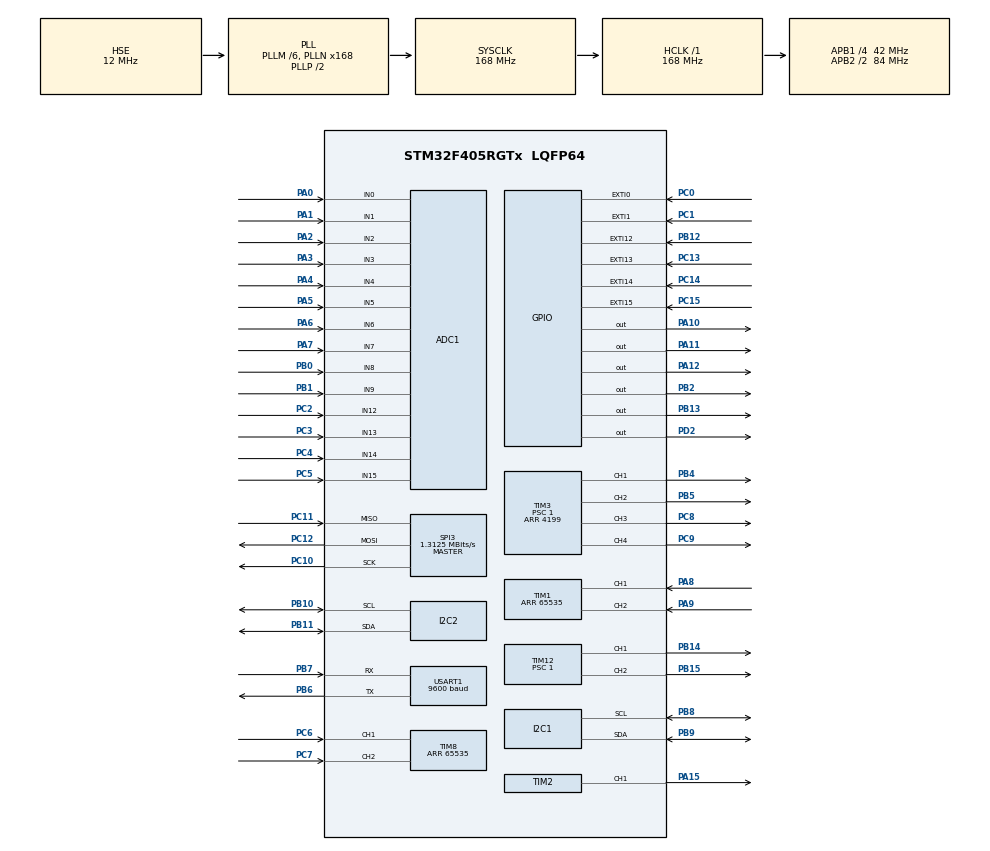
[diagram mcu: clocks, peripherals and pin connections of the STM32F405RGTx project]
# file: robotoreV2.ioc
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ADC1.Channel-0\#ChannelRegularConversion=ADC_CHANNEL_0
ADC1.Channel-1\#ChannelRegularConversion=ADC_CHANNEL_1
ADC1.Channel-10\#ChannelRegularConversion=ADC_CHANNEL_14
ADC1.Channel-11\#ChannelRegularConversion=ADC_CHANNEL_15
ADC1.Channel-12\#ChannelRegularConversion=ADC_CHANNEL_12
ADC1.Channel-13\#ChannelRegularConversion=ADC_CHANNEL_13
ADC1.Channel-2\#ChannelRegularConversion=ADC_CHANNEL_2
ADC1.Channel-3\#ChannelRegularConversion=ADC_CHANNEL_3
ADC1.Channel-4\#ChannelRegularConversion=ADC_CHANNEL_4
ADC1.Channel-5\#ChannelRegularConversion=ADC_CHANNEL_5
ADC1.Channel-6\#ChannelRegularConversion=ADC_CHANNEL_6
ADC1.Channel-7\#ChannelRegularConversion=ADC_CHANNEL_7
ADC1.Channel-8\#ChannelRegularConversion=ADC_CHANNEL_8
ADC1.Channel-9\#ChannelRegularConversion=ADC_CHANNEL_9
ADC1.ContinuousConvMode=ENABLE
ADC1.DMAContinuousRequests=ENABLE
ADC1.InjNumberOfConversion=0
ADC1.NbrOfConversion=14
ADC1.NbrOfConversionFlag=1
ADC1.Rank-0\#ChannelRegularConversion=1
ADC1.Rank-1\#ChannelRegularConversion=2
ADC1.Rank-10\#ChannelRegularConversion=11
ADC1.Rank-11\#ChannelRegularConversion=12
ADC1.Rank-12\#ChannelRegularConversion=13
ADC1.Rank-13\#ChannelRegularConversion=14
ADC1.Rank-2\#ChannelRegularConversion=3
ADC1.Rank-3\#ChannelRegularConversion=4
ADC1.Rank-4\#ChannelRegularConversion=5
ADC1.Rank-5\#ChannelRegularConversion=6
ADC1.Rank-6\#ChannelRegularConversion=7
ADC1.Rank-7\#ChannelRegularConversion=8
ADC1.Rank-8\#ChannelRegularConversion=9
ADC1.Rank-9\#ChannelRegularConversion=10
ADC1.SamplingTime-0\#ChannelRegularConversion=ADC_SAMPLETIME_28CYCLES
ADC1.SamplingTime-1\#ChannelRegularConversion=ADC_SAMPLETIME_28CYCLES
ADC1.SamplingTime-10\#ChannelRegularConversion=ADC_SAMPLETIME_28CYCLES
ADC1.SamplingTime-11\#ChannelRegularConversion=ADC_SAMPLETIME_28CYCLES
ADC1.SamplingTime-12\#ChannelRegularConversion=ADC_SAMPLETIME_28CYCLES
ADC1.SamplingTime-13\#ChannelRegularConversion=ADC_SAMPLETIME_28CYCLES
ADC1.SamplingTime-2\#ChannelRegularConversion=ADC_SAMPLETIME_28CYCLES
ADC1.SamplingTime-3\#ChannelRegularConversion=ADC_SAMPLETIME_28CYCLES
ADC1.SamplingTime-4\#ChannelRegularConversion=ADC_SAMPLETIME_28CYCLES
ADC1.SamplingTime-5\#ChannelRegularConversion=ADC_SAMPLETIME_28CYCLES
ADC1.SamplingTime-6\#ChannelRegularConversion=ADC_SAMPLETIME_28CYCLES
ADC1.SamplingTime-7\#ChannelRegularConversion=ADC_SAMPLETIME_28CYCLES
ADC1.SamplingTime-8\#ChannelRegularConversion=ADC_SAMPLETIME_28CYCLES
ADC1.SamplingTime-9\#ChannelRegularConversion=ADC_SAMPLETIME_28CYCLES
ADC1.ScanConvMode=ENABLE
ADC1.master=1
ARM.CMSIS.5.6.0.CMSISJjDSP=Library
ARM.CMSIS.5.6.0.CMSISJjDSP.apiComponent0=Device\:IRQ Controller
ARM.CMSIS.5.6.0.CMSISJjDSP.apiComponent1=Device\:OS Tick
ARM.CMSIS.5.6.0.CMSISJjDSP.apiComponent10=CMSIS Driver\:SAI
ARM.CMSIS.5.6.0.CMSISJjDSP.apiComponent11=CMSIS Driver\:I2C
ARM.CMSIS.5.6.0.CMSISJjDSP.apiComponent12=CMSIS Driver\:I2C
ARM.CMSIS.5.6.0.CMSISJjDSP.apiComponent13=CMSIS Driver\:CAN
ARM.CMSIS.5.6.0.CMSISJjDSP.apiComponent14=CMSIS Driver\:CAN
ARM.CMSIS.5.6.0.CMSISJjDSP.apiComponent15=CMSIS Driver\:Flash
ARM.CMSIS.5.6.0.CMSISJjDSP.apiComponent16=CMSIS Driver\:Flash
ARM.CMSIS.5.6.0.CMSISJjDSP.apiComponent17=CMSIS Driver\:MCI
ARM.CMSIS.5.6.0.CMSISJjDSP.apiComponent18=CMSIS Driver\:MCI
ARM.CMSIS.5.6.0.CMSISJjDSP.apiComponent19=CMSIS Driver\:NAND
ARM.CMSIS.5.6.0.CMSISJjDSP.apiComponent2=CMSIS\:RTOS
ARM.CMSIS.5.6.0.CMSISJjDSP.apiComponent20=CMSIS Driver\:NAND
ARM.CMSIS.5.6.0.CMSISJjDSP.apiComponent21=CMSIS Driver\:Ethernet
ARM.CMSIS.5.6.0.CMSISJjDSP.apiComponent22=CMSIS Driver\:Ethernet
ARM.CMSIS.5.6.0.CMSISJjDSP.apiComponent23=CMSIS Driver\:Ethernet
ARM.CMSIS.5.6.0.CMSISJjDSP.apiComponent24=CMSIS Driver\:Ethernet MAC
ARM.CMSIS.5.6.0.CMSISJjDSP.apiComponent25=CMSIS Driver\:Ethernet MAC
ARM.CMSIS.5.6.0.CMSISJjDSP.apiComponent26=CMSIS Driver\:Ethernet PHY
ARM.CMSIS.5.6.0.CMSISJjDSP.apiComponent27=CMSIS Driver\:Ethernet PHY
ARM.CMSIS.5.6.0.CMSISJjDSP.apiComponent28=CMSIS Driver\:USB Device
ARM.CMSIS.5.6.0.CMSISJjDSP.apiComponent29=CMSIS Driver\:USB Device
ARM.CMSIS.5.6.0.CMSISJjDSP.apiComponent3=CMSIS\:RTOS2
ARM.CMSIS.5.6.0.CMSISJjDSP.apiComponent30=CMSIS Driver\:USB Host
ARM.CMSIS.5.6.0.CMSISJjDSP.apiComponent31=CMSIS Driver\:USB Host
ARM.CMSIS.5.6.0.CMSISJjDSP.apiComponent32=CMSIS Driver\:WiFi
ARM.CMSIS.5.6.0.CMSISJjDSP.apiComponent33=CMSIS Driver\:WiFi
ARM.CMSIS.5.6.0.CMSISJjDSP.apiComponent4=CMSIS\:RTOS2
ARM.CMSIS.5.6.0.CMSISJjDSP.apiComponent5=CMSIS Driver\:USART
ARM.CMSIS.5.6.0.CMSISJjDSP.apiComponent6=CMSIS Driver\:USART
ARM.CMSIS.5.6.0.CMSISJjDSP.apiComponent7=CMSIS Driver\:SPI
ARM.CMSIS.5.6.0.CMSISJjDSP.apiComponent8=CMSIS Driver\:SPI
ARM.CMSIS.5.6.0.CMSISJjDSP.apiComponent9=CMSIS Driver\:SAI
ARM.CMSIS.5.6.0.CMSISJjDSP.apiDoc0=CMSIS/Core_A/Include/irq_ctrl.h
ARM.CMSIS.5.6.0.CMSISJjDSP.apiDoc1=CMSIS/RTOS2/Include/os_tick.h
ARM.CMSIS.5.6.0.CMSISJjDSP.apiDoc10=CMSIS/Driver/Include/Driver_SAI.h
ARM.CMSIS.5.6.0.CMSISJjDSP.apiDoc11=CMSIS/Documentation/Driver/html/group__i2c__interface__gr.html
ARM.CMSIS.5.6.0.CMSISJjDSP.apiDoc12=CMSIS/Driver/Include/Driver_I2C.h
ARM.CMSIS.5.6.0.CMSISJjDSP.apiDoc13=CMSIS/Documentation/Driver/html/group__can__interface__gr.html
ARM.CMSIS.5.6.0.CMSISJjDSP.apiDoc14=CMSIS/Driver/Include/Driver_CAN.h
ARM.CMSIS.5.6.0.CMSISJjDSP.apiDoc15=CMSIS/Documentation/Driver/html/group__flash__interface__gr.html
ARM.CMSIS.5.6.0.CMSISJjDSP.apiDoc16=CMSIS/Driver/Include/Driver_Flash.h
ARM.CMSIS.5.6.0.CMSISJjDSP.apiDoc17=CMSIS/Documentation/Driver/html/group__mci__interface__gr.html
ARM.CMSIS.5.6.0.CMSISJjDSP.apiDoc18=CMSIS/Driver/Include/Driver_MCI.h
ARM.CMSIS.5.6.0.CMSISJjDSP.apiDoc19=CMSIS/Documentation/Driver/html/group__nand__interface__gr.html
ARM.CMSIS.5.6.0.CMSISJjDSP.apiDoc2=CMSIS/Documentation/RTOS/html/index.html
ARM.CMSIS.5.6.0.CMSISJjDSP.apiDoc20=CMSIS/Driver/Include/Driver_NAND.h
ARM.CMSIS.5.6.0.CMSISJjDSP.apiDoc21=CMSIS/Documentation/Driver/html/group__eth__interface__gr.html
ARM.CMSIS.5.6.0.CMSISJjDSP.apiDoc22=CMSIS/Driver/Include/Driver_ETH_MAC.h
ARM.CMSIS.5.6.0.CMSISJjDSP.apiDoc23=CMSIS/Driver/Include/Driver_ETH_PHY.h
ARM.CMSIS.5.6.0.CMSISJjDSP.apiDoc24=CMSIS/Documentation/Driver/html/group__eth__mac__interface__gr.html
ARM.CMSIS.5.6.0.CMSISJjDSP.apiDoc25=CMSIS/Driver/Include/Driver_ETH_MAC.h
ARM.CMSIS.5.6.0.CMSISJjDSP.apiDoc26=CMSIS/Documentation/Driver/html/group__eth__phy__interface__gr.html
ARM.CMSIS.5.6.0.CMSISJjDSP.apiDoc27=CMSIS/Driver/Include/Driver_ETH_PHY.h
ARM.CMSIS.5.6.0.CMSISJjDSP.apiDoc28=CMSIS/Documentation/Driver/html/group__usbd__interface__gr.html
ARM.CMSIS.5.6.0.CMSISJjDSP.apiDoc29=CMSIS/Driver/Include/Driver_USBD.h
ARM.CMSIS.5.6.0.CMSISJjDSP.apiDoc3=CMSIS/Documentation/RTOS2/html/index.html
ARM.CMSIS.5.6.0.CMSISJjDSP.apiDoc30=CMSIS/Documentation/Driver/html/group__usbh__interface__gr.html
ARM.CMSIS.5.6.0.CMSISJjDSP.apiDoc31=CMSIS/Driver/Include/Driver_USBH.h
ARM.CMSIS.5.6.0.CMSISJjDSP.apiDoc32=CMSIS/Documentation/Driver/html/group__wifi__interface__gr.html
ARM.CMSIS.5.6.0.CMSISJjDSP.apiDoc33=CMSIS/Driver/Include/Driver_WiFi.h
ARM.CMSIS.5.6.0.CMSISJjDSP.apiDoc4=CMSIS/RTOS2/Include/cmsis_os2.h
ARM.CMSIS.5.6.0.CMSISJjDSP.apiDoc5=CMSIS/Documentation/Driver/html/group__usart__interface__gr.html
ARM.CMSIS.5.6.0.CMSISJjDSP.apiDoc6=CMSIS/Driver/Include/Driver_USART.h
ARM.CMSIS.5.6.0.CMSISJjDSP.apiDoc7=CMSIS/Documentation/Driver/html/group__spi__interface__gr.html
ARM.CMSIS.5.6.0.CMSISJjDSP.apiDoc8=CMSIS/Driver/Include/Driver_SPI.h
ARM.CMSIS.5.6.0.CMSISJjDSP.apiDoc9=CMSIS/Documentation/Driver/html/group__sai__interface__gr.html
ARM.CMSIS.5.6.0.CMSISJjDSP.cmp_version0=1.7.0
ARM.CMSIS.5.6.0.CMSISJjDSP.component0=CMSIS
ARM.CMSIS.5.6.0.CMSISJjDSP.componentDoc0=CMSIS/Documentation/DSP/html/index.html
ARM.CMSIS.5.6.0.CMSISJjDSP.description0=CMSIS-DSP Library for Cortex-M, SC000, and SC300
ARM.CMSIS.5.6.0.CMSISJjDSP.diagnostic0=This component should operate correctly.
ARM.CMSIS.5.6.0.CMSISJjDSP.group0=DSP
ARM.CMSIS.5.6.0.CMSISJjDSP.paramName0=CMSISJjDSP
ARM.CMSIS.5.6.0.CMSISJjDSP.sevirity0=none
ARM.CMSIS.5.6.0.CMSISJjDSP.variant0=Library
ARM.CMSIS.5.6.0.CMSISJjDSP_apiSize=34
ARM.CMSIS.5.6.0.CMSISJjDSP_bundle=CMSIS
ARM.CMSIS.5.6.0.CMSISJjDSP_class=CMSIS
ARM.CMSIS.5.6.0.CMSISJjDSP_name=CMSIS
ARM.CMSIS.5.6.0.CMSISJjDSP_size=1
ARM.CMSIS.5.6.0.CMSISJjDSP_vendor=ARM
ARM.CMSIS.5.6.0.CMSISJjDSP_version=5.6.0
ARM.CMSIS.5.6.0_CMSISJjCORE_RteComponentsize=0
ARM.CMSIS.5.6.0_CMSISJjDSP_RteComponentsize=0
ARM.CMSIS.5.6.0_CMSISJjNNOoLib_RteComponentsize=0
ARM.CMSIS.5.6.0_CMSISJjRTOS2_RteComponentsize=0
ARM.CMSIS.5.6.0_CMSISJjRTOS_RteComponentsize=0
ARM.CMSIS.5.6.0_CMSISOoDriverJjCAN_RteComponentsize=0
ARM.CMSIS.5.6.0_CMSISOoDriverJjEthernetOoMAC_RteComponentsize=0
ARM.CMSIS.5.6.0_CMSISOoDriverJjEthernetOoPHY_RteComponentsize=0
ARM.CMSIS.5.6.0_CMSISOoDriverJjEthernet_RteComponentsize=0
ARM.CMSIS.5.6.0_CMSISOoDriverJjFlash_RteComponentsize=0
ARM.CMSIS.5.6.0_CMSISOoDriverJjI2C_RteComponentsize=0
ARM.CMSIS.5.6.0_CMSISOoDriverJjMCI_RteComponentsize=0
ARM.CMSIS.5.6.0_CMSISOoDriverJjNAND_RteComponentsize=0
ARM.CMSIS.5.6.0_CMSISOoDriverJjSAI_RteComponentsize=0
ARM.CMSIS.5.6.0_CMSISOoDriverJjSPI_RteComponentsize=0
ARM.CMSIS.5.6.0_CMSISOoDriverJjUSART_RteComponentsize=0
ARM.CMSIS.5.6.0_CMSISOoDriverJjUSBOoDevice_RteComponentsize=0
ARM.CMSIS.5.6.0_CMSISOoDriverJjUSBOoHost_RteComponentsize=0
ARM.CMSIS.5.6.0_CMSISOoDriverJjWiFi_RteComponentsize=0
ARM.CMSIS.5.6.0_DeviceJjIRQOoController_RteComponentsize=0
ARM.CMSIS.5.6.0_DeviceJjOSOoTick_RteComponentsize=0
ARM.CMSIS.5.6.0_DeviceJjStartup_RteComponentsize=0
ARM.CMSIS.5.6.0_description=CMSIS (Cortex Microcontroller Software Interface Standard)
Dma.ADC1.0.Direction=DMA_PERIPH_TO_MEMORY
Dma.ADC1.0.FIFOMode=DMA_FIFOMODE_DISABLE
Dma.ADC1.0.Instance=DMA2_Stream0
Dma.ADC1.0.MemDataAlignment=DMA_MDATAALIGN_HALFWORD
Dma.ADC1.0.MemInc=DMA_MINC_ENABLE
Dma.ADC1.0.Mode=DMA_CIRCULAR
Dma.ADC1.0.PeriphDataAlignment=DMA_PDATAALIGN_HALFWORD
Dma.ADC1.0.PeriphInc=DMA_PINC_DISABLE
Dma.ADC1.0.Priority=DMA_PRIORITY_LOW
Dma.Request0=ADC1
I2C1.I2C_Mode=I2C_Fast
Mcu.Family=STM32F4
Mcu.Name=STM32F405RGTx
Mcu.Package=LQFP64
NVIC.DMA2_Stream0_IRQn=true\:5\:0\:true\:false\:true\:false\:true
NVIC.EXTI0_IRQn=true\:0\:0\:false\:false\:true\:true\:true
NVIC.EXTI15_10_IRQn=true\:0\:0\:false\:false\:true\:true\:true
NVIC.EXTI1_IRQn=true\:0\:0\:false\:false\:true\:true\:true
NVIC.PriorityGroup=NVIC_PRIORITYGROUP_4
NVIC.TIM6_DAC_IRQn=true\:5\:0\:true\:false\:true\:true\:true
NVIC.TIM7_IRQn=true\:5\:0\:true\:false\:true\:true\:true
PA0-WKUP.Signal=ADCx_IN0
PA1.Signal=ADCx_IN1
PA10.GPIO_Speed=GPIO_SPEED_FREQ_HIGH
PA10.Signal=GPIO_Output
PA11.GPIO_Speed=GPIO_SPEED_FREQ_HIGH
PA11.Signal=GPIO_Output
PA12.Signal=GPIO_Output
PA13.Mode=Trace_Asynchronous_SW
PA13.Signal=SYS_JTMS-SWDIO
PA14.Mode=Trace_Asynchronous_SW
PA14.Signal=SYS_JTCK-SWCLK
PA15.Signal=S_TIM2_CH1_ETR
PA2.Signal=ADCx_IN2
PA3.Signal=ADCx_IN3
PA4.Signal=ADCx_IN4
PA5.Signal=ADCx_IN5
PA6.Signal=ADCx_IN6
PA7.Signal=ADCx_IN7
PA8.Signal=S_TIM1_CH1
PA9.Signal=S_TIM1_CH2
PB0.Signal=ADCx_IN8
PB1.Signal=ADCx_IN9
PB10.Mode=I2C
PB10.Signal=I2C2_SCL
PB11.Mode=I2C
PB11.Signal=I2C2_SDA
PB12.GPIO_PuPd=GPIO_PULLUP
PB12.Signal=GPXTI12
PB13.Signal=GPIO_Output
PB14.Signal=S_TIM12_CH1
PB15.Signal=S_TIM12_CH2
PB2.Signal=GPIO_Output
PB3.Mode=Trace_Asynchronous_SW
PB3.Signal=SYS_JTDO-SWO
PB4.Signal=S_TIM3_CH1
PB5.Signal=S_TIM3_CH2
PB6.Mode=Asynchronous
PB6.Signal=USART1_TX
PB7.Mode=Asynchronous
PB7.Signal=USART1_RX
PB8.Mode=I2C
PB8.Signal=I2C1_SCL
PB9.Mode=I2C
PB9.Signal=I2C1_SDA
PC0.GPIO_ModeDefaultEXTI=GPIO_MODE_IT_RISING
PC0.GPIO_PuPd=GPIO_PULLUP
PC0.Signal=GPXTI0
PC1.GPIO_PuPd=GPIO_PULLUP
PC1.Signal=GPXTI1
PC10.Mode=Full_Duplex_Master
PC10.Signal=SPI3_SCK
PC11.Mode=Full_Duplex_Master
PC11.Signal=SPI3_MISO
PC12.Mode=Full_Duplex_Master
PC12.Signal=SPI3_MOSI
PC13-ANTI_TAMP.GPIO_PuPd=GPIO_PULLUP
PC13-ANTI_TAMP.Signal=GPXTI13
PC14-OSC32_IN.GPIO_ModeDefaultEXTI=GPIO_MODE_IT_RISING
PC14-OSC32_IN.GPIO_PuPd=GPIO_PULLUP
PC14-OSC32_IN.Signal=GPXTI14
PC15-OSC32_OUT.GPIO_PuPd=GPIO_PULLUP
PC15-OSC32_OUT.Signal=GPXTI15
PC2.Signal=ADCx_IN12
PC3.Signal=ADCx_IN13
PC4.Signal=ADCx_IN14
PC5.Signal=ADCx_IN15
PC6.Signal=S_TIM8_CH1
PC7.Signal=S_TIM8_CH2
PC8.Signal=S_TIM3_CH3
PC9.Signal=S_TIM3_CH4
PD2.GPIO_Speed=GPIO_SPEED_FREQ_VERY_HIGH
PD2.PinState=GPIO_PIN_RESET
PD2.Signal=GPIO_Output
PH0-OSC_IN.Mode=HSE-External-Clock-Source
PH0-OSC_IN.Signal=RCC_OSC_IN
PH1-OSC_OUT.Mode=HSE-External-Clock-Source
PH1-OSC_OUT.Signal=RCC_OSC_OUT
ProjectManager.HeapSize=0x200
ProjectManager.StackSize=0x400
ProjectManager.TargetToolchain=STM32CubeIDE
RCC.48MHZClocksFreq_Value=84000000
RCC.AHBFreq_Value=168000000
RCC.APB1CLKDivider=RCC_HCLK_DIV4
RCC.APB1Freq_Value=42000000
RCC.APB1TimFreq_Value=84000000
RCC.APB2CLKDivider=RCC_HCLK_DIV2
RCC.APB2Freq_Value=84000000
RCC.APB2TimFreq_Value=168000000
RCC.CortexFreq_Value=168000000
RCC.HCLKFreq_Value=168000000
RCC.HSE_VALUE=12000000
RCC.HSI_VALUE=16000000
RCC.LSE_VALUE=32768
RCC.PLLM=6
RCC.PLLN=168
RCC.PLLSourceVirtual=RCC_PLLSOURCE_HSE
RCC.SYSCLKFreq_VALUE=168000000
RCC.SYSCLKSource=RCC_SYSCLKSOURCE_PLLCLK
RCC.VCOOutputFreq_Value=336000000
SH.ADCx_IN0.0=ADC1_IN0,IN0
SH.ADCx_IN1.0=ADC1_IN1,IN1
SH.ADCx_IN12.0=ADC1_IN12,IN12
SH.ADCx_IN13.0=ADC1_IN13,IN13
SH.ADCx_IN14.0=ADC1_IN14,IN14
SH.ADCx_IN15.0=ADC1_IN15,IN15
SH.ADCx_IN2.0=ADC1_IN2,IN2
SH.ADCx_IN3.0=ADC1_IN3,IN3
SH.ADCx_IN4.0=ADC1_IN4,IN4
SH.ADCx_IN5.0=ADC1_IN5,IN5
SH.ADCx_IN6.0=ADC1_IN6,IN6
SH.ADCx_IN7.0=ADC1_IN7,IN7
SH.ADCx_IN8.0=ADC1_IN8,IN8
SH.ADCx_IN9.0=ADC1_IN9,IN9
SH.S_TIM12_CH1.0=TIM12_CH1,PWM Generation1 CH1
SH.S_TIM12_CH2.0=TIM12_CH2,PWM Generation2 CH2
SH.S_TIM1_CH1.0=TIM1_CH1,Encoder_Interface
SH.S_TIM1_CH2.0=TIM1_CH2,Encoder_Interface
SH.S_TIM2_CH1_ETR.0=TIM2_CH1,PWM Generation1 CH1
SH.S_TIM3_CH1.0=TIM3_CH1,PWM Generation1 CH1
SH.S_TIM3_CH2.0=TIM3_CH2,PWM Generation2 CH2
SH.S_TIM3_CH3.0=TIM3_CH3,PWM Generation3 CH3
SH.S_TIM3_CH4.0=TIM3_CH4,PWM Generation4 CH4
SH.S_TIM8_CH1.0=TIM8_CH1,Encoder_Interface
SH.S_TIM8_CH2.0=TIM8_CH2,Encoder_Interface
SPI3.BaudRatePrescaler=SPI_BAUDRATEPRESCALER_32
SPI3.CLKPhase=SPI_PHASE_2EDGE
SPI3.CLKPolarity=SPI_POLARITY_HIGH
SPI3.CalculateBaudRate=1.3125 MBits/s
SPI3.Direction=SPI_DIRECTION_2LINES
SPI3.Mode=SPI_MODE_MASTER
SPI3.VirtualType=VM_MASTER
TIM1.EncoderMode=TIM_ENCODERMODE_TI12
TIM1.IC1Polarity=TIM_ICPOLARITY_FALLING
TIM1.IC2Polarity=TIM_ICPOLARITY_FALLING
TIM1.Period=65535
TIM12.Channel-PWM\ Generation1\ CH1=TIM_CHANNEL_1
TIM12.Channel-PWM\ Generation2\ CH2=TIM_CHANNEL_2
TIM12.Period=839
TIM12.Prescaler=1
TIM2.Channel-PWM\ Generation1\ CH1=TIM_CHANNEL_1
TIM2.Period=4199
TIM2.Prescaler=1
TIM3.Channel-PWM\ Generation1\ CH1=TIM_CHANNEL_1
TIM3.Channel-PWM\ Generation2\ CH2=TIM_CHANNEL_2
TIM3.Channel-PWM\ Generation3\ CH3=TIM_CHANNEL_3
TIM3.Channel-PWM\ Generation4\ CH4=TIM_CHANNEL_4
TIM3.Period=4199
TIM3.Prescaler=1
TIM6.Period=4199
TIM6.Prescaler=19
TIM7.Period=4999
TIM7.Prescaler=167
TIM8.EncoderMode=TIM_ENCODERMODE_TI12
TIM8.IC1Polarity=TIM_ICPOLARITY_FALLING
TIM8.IC2Polarity=TIM_ICPOLARITY_FALLING
TIM8.Period=65535
USART1.BaudRate=9600
USART1.VirtualMode=VM_ASYNC
VP_ARM.CMSIS_VS_CMSISJjDSP_1.7.0.Mode=CMSISJjDSP
VP_TIM6_VS_ClockSourceINT.Mode=Enable_Timer
VP_TIM7_VS_ClockSourceINT.Mode=Enable_Timer
board=custom

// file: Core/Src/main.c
/* USER CODE BEGIN Header */
/**
  ******************************************************************************
  * @file           : main.c
  * @brief          : Main program body
  ******************************************************************************
  * @attention
  *
  * <h2><center>&copy; Copyright (c) 2020 STMicroelectronics.
  * All rights reserved.</center></h2>
  *
  * This software component is licensed by ST under BSD 3-Clause license,
  * the "License"; You may not use this file except in compliance with the
  * License. You may obtain a copy of the License at:
  *                        opensource.org/licenses/BSD-3-Clause
  *
  ******************************************************************************
  */
/* USER CODE END Header */

#include "main.h"

/* USER CODE BEGIN Includes */
#include "peripheral_func.h"
/* USER CODE END Includes */

ADC_HandleTypeDef hadc1;
DMA_HandleTypeDef hdma_adc1;

I2C_HandleTypeDef hi2c1;
I2C_HandleTypeDef hi2c2;

SPI_HandleTypeDef hspi3;

TIM_HandleTypeDef htim1;
TIM_HandleTypeDef htim2;
TIM_HandleTypeDef htim3;
TIM_HandleTypeDef htim6;
TIM_HandleTypeDef htim7;
TIM_HandleTypeDef htim8;
TIM_HandleTypeDef htim12;

UART_HandleTypeDef huart1;

void SystemClock_Config(void);
static void MX_GPIO_Init(void);
static void MX_DMA_Init(void);
static void MX_ADC1_Init(void);
static void MX_I2C1_Init(void);
static void MX_I2C2_Init(void);
static void MX_SPI3_Init(void);
static void MX_TIM1_Init(void);
static void MX_TIM2_Init(void);
static void MX_TIM3_Init(void);
static void MX_TIM8_Init(void);
static void MX_TIM12_Init(void);
static void MX_USART1_UART_Init(void);
static void MX_TIM6_Init(void);
static void MX_TIM7_Init(void);

int main(void)
{

  /* MCU Configuration--------------------------------------------------------*/

  /* Reset of all peripherals, Initializes the Flash interface and the Systick. */
  HAL_Init();

  /* Configure the system clock */
  SystemClock_Config();

  /* Initialize all configured peripherals */
  MX_GPIO_Init();
  MX_DMA_Init();
  MX_ADC1_Init();
  MX_I2C1_Init();
  MX_I2C2_Init();
  MX_SPI3_Init();
  MX_TIM1_Init();
  MX_TIM2_Init();
  MX_TIM3_Init();
  MX_TIM8_Init();
  MX_TIM12_Init();
  MX_USART1_UART_Init();
  MX_TIM6_Init();
  MX_TIM7_Init();
  /* USER CODE BEGIN 2 */
  peripheral_init();
  int tim_buf;
  int16_t log_cmp;
  float log_buf;
  float mm_buf;
  uint32_t end_log_adress;
  float spline_temp;
  /* USER CODE END 2 */

  /* Infinite loop */
  while (1)
  {

    /* USER CODE BEGIN 3 */
	switch(main_pattern) {
		case 0:	//setup
			setup();
			break;
		case 10:
			maker_adress = start_adress_sector9;

			timer = 0;
			target_vel = 0.0f;
			main_pattern++;

			break;
		case 11:	//count down
			if(timer >= 0 && timer < 1000) ;
			else if(timer >= 1000 && timer < 2000) ;
			else if(timer >= 2000 && timer < 3000) {
				calibration_flag = 1;
				led_pattern(2);
			}
			else if(timer >= 3000 && timer < 4000) led_pattern(4);
			else if(timer >= 4000 && timer < 5000) {
				led_pattern(1);
				calibration_flag = 0;
				Calculation_offset_zg();
			}
			else if(timer >= 5000) {
				if (second_trace_flag == 0){
					if (velocity_pattern == 1) target_vel = 1000.0f;
					else if (velocity_pattern == 2) target_vel = 1200.0f;
					else if (velocity_pattern == 3) target_vel = 1500.0f;
					else target_vel = 0.0f;
					led_pattern(0);
					main_pattern++;
				}
				else {
					if(second_trace_pattern == 1) target_vel = START_VELOCITY;
					else if(second_trace_pattern == 2) target_vel = START_VELOCITY2;
					else target_vel = 1000.0f;

					main_pattern++;
				}
			}

			break;
		case 12:	//start
			if(maker_check >= 8) {	//start_maker_check
			//if( 1 <= maker_check && maker_check <= 3) {	//start_maker_check
				enc_tim1_total = 0;
				enc_tim8_total = 0;
				enc_tim_total = 0;
				mm_total = 0;
				timer = 0;
				main_pattern = 13;
				enc_tim1_cnt_10ms = 0;
				enc_tim8_cnt_10ms = 0;
				log_adress = start_adress_sector7;
				led_pattern(6);

				if( second_trace_flag == 0 ) flash_flag = 1;
				if( second_trace_flag == 1 ) {
					if(second_trace_pattern == 2)plan_velo_adress = start_adress_sector11;
					else plan_velo_adress = start_adress_sector10;

					target_vel = *(float*)plan_velo_adress;
					plan_velo_adress += 0x04;
					log_adress += 0x04;
					mm_total = *(float*)log_adress;
					log_adress += 0x08;
				}
			}
			break;
		case 13:	//running
			while( ( mm_total <= mileage((float)enc_tim_total)) && second_trace_flag == 1 ) {
				if(isnan(*(float*)log_adress) != 0) {
					led_pattern(7);
					enc_cnt = 0;
					main_pattern = 14;
					break;
				}
				else mm_total += *(float*)log_adress;

				if(isnan(*(float*)plan_velo_adress) != 0) {
					led_pattern(7);
					enc_cnt = 0;
					main_pattern = 14;
					break;
				}
				else target_vel = *(float*)plan_velo_adress;

				plan_velo_adress += 0x04;
				log_adress += 0x08;
			}

			if(maker_check >= 8 && timer >= 1000) { //goal_maler_check
			//if( 1 <= maker_check && maker_check <= 3 && second_trace_flag == 0 && timer >= 800) {
				/*buf++;
				timer = 0;
				if(buf == 2){
					flash_flag = 0;
					tim_buf = timer;
					led_pattern(4);
					enc_cnt = 0;
					main_pattern = 14;
				}*/
				flash_flag = 0;
				tim_buf = timer;
				led_pattern(4);
				enc_cnt = 0;
				main_pattern++;
				timer = 0;
			}

			break;
		case 14:	//goal
			led_pattern(7);
			//target_vel = END_VELOCITY;
			if(second_trace_pattern == 1) target_vel = END_VELOCITY;
			else if(second_trace_pattern == 2) target_vel = END_VELOCITY2;
			else target_vel = 1000.0f;

			if (mileage((float)enc_cnt) >= 400) {
				target_vel = 0.0f;
				__HAL_TIM_SET_COMPARE(&htim12, TIM_CHANNEL_1, 0);
				__HAL_TIM_SET_COMPARE(&htim12, TIM_CHANNEL_2, 0);
				led_pattern(7);
				main_pattern = 20;
			}
			break;
		case 20:
			__HAL_TIM_SET_COMPARE(&htim12, TIM_CHANNEL_1, 0);
			__HAL_TIM_SET_COMPARE(&htim12, TIM_CHANNEL_2, 0);
			lcd_locate(0,0);
			lcd_printf("%8d",tim_buf);
			lcd_locate(0,1);
			lcd_printf("%f",mileage((float)(enc_tim1_total + enc_tim8_total) / 2.0f));
			if( second_trace_flag == 0 ) main_pattern++;
			end_log_adress = log_adress;
			break;
		case 21:
			__HAL_TIM_SET_COMPARE(&htim12, TIM_CHANNEL_1, 0);
			__HAL_TIM_SET_COMPARE(&htim12, TIM_CHANNEL_2, 0);
			led_pattern(1);

			for(log_cmp = 0; log_cmp < log_array ;log_cmp++){
				PlanVelo2[log_cmp] = PlanVelo[log_cmp];
			}

			for(log_cmp = 0; log_cmp < log_array ;log_cmp++) {
				log_buf = PlanVelo[log_cmp];
				spline_temp = Velo_Spline_Curve(log_buf);
				if(spline_temp >= MAX_VELOCITY) PlanVelo[log_cmp] = MAX_VELOCITY;
				else if(spline_temp < MIN_VELOCITY) PlanVelo[log_cmp] = MIN_VELOCITY;
				else PlanVelo[log_cmp] = spline_temp;
			}

			for(log_cmp = 0; log_cmp < log_array ;log_cmp++) {
				log_buf = PlanVelo2[log_cmp];
				spline_temp = Velo_Spline_Curve(log_buf);
				if(spline_temp >= MAX_VELOCITY2) PlanVelo2[log_cmp] = MAX_VELOCITY2;
				else if(spline_temp < MIN_VELOCITY2) PlanVelo2[log_cmp] = MIN_VELOCITY2;
				else PlanVelo2[log_cmp] = spline_temp;
			}

			log_adress = start_adress_sector7;
			log_adress += 0x04;

			for(log_cmp = 0; log_cmp < log_array ;log_cmp++) {
				mm_buf = *(float*)log_adress;
				if(log_cmp == 0) {
					if( PlanVelo[log_cmp] > sqrtf( 2.0f * ACCELERATION * mm_buf ) + START_VELOCITY ) PlanVelo[log_cmp] = sqrtf( 2.0f * ACCELERATION * mm_buf ) + START_VELOCITY;
				}
				else {
					if( PlanVelo[log_cmp] > sqrtf( 2.0f * ACCELERATION * mm_buf ) + PlanVelo[log_cmp - 1] ) PlanVelo[log_cmp] = sqrtf( 2.0f * ACCELERATION * mm_buf ) + PlanVelo[log_cmp - 1];
				}

				log_adress += 0x08;

			}

			log_adress = start_adress_sector7;
			log_adress += 0x04;

			for(log_cmp = 0; log_cmp < log_array ;log_cmp++) {
				mm_buf = *(float*)log_adress;
				if(log_cmp == 0) {
					if( PlanVelo2[log_cmp] > sqrtf( 2.0f * ACCELERATION2 * mm_buf ) + START_VELOCITY2 ) PlanVelo2[log_cmp] = sqrtf( 2.0f * ACCELERATION2 * mm_buf ) + START_VELOCITY2;
				}
				else {
					if( PlanVelo2[log_cmp] > sqrtf( 2.0f * ACCELERATION2 * mm_buf ) + PlanVelo2[log_cmp - 1] ) PlanVelo2[log_cmp] = sqrtf( 2.0f * ACCELERATION2 * mm_buf ) + PlanVelo2[log_cmp - 1];
				}

				log_adress += 0x08;

			}

			log_adress = end_log_adress;
			log_adress -= 0x04;

			for(log_cmp = log_array - 1; log_cmp >= 0 ;log_cmp--) {

				if(log_cmp != log_array - 1) mm_buf = *(float*)log_adress;

				if(log_cmp == log_array - 1) {
					if( END_VELOCITY < PlanVelo[log_cmp] - sqrtf( 2.0f * DECELERATION * END_DISTANCE ) ) PlanVelo[log_cmp] = END_VELOCITY + sqrtf( 2.0f * DECELERATION * END_DISTANCE ) ;
				}
				else{
					if( PlanVelo[log_cmp + 1] < PlanVelo[log_cmp] - sqrtf( 2.0f * DECELERATION * mm_buf ) ) PlanVelo[log_cmp] = PlanVelo[log_cmp + 1] + sqrtf( 2.0f * DECELERATION * mm_buf );
				}

				log_adress -= 0x08;
			}

			log_adress = end_log_adress;
			log_adress -= 0x04;

			for(log_cmp = log_array - 1; log_cmp >= 0 ;log_cmp--) {

				if(log_cmp != log_array - 1) mm_buf = *(float*)log_adress;

				if(log_cmp == log_array - 1) {
					if( END_VELOCITY2 < PlanVelo2[log_cmp] - sqrtf( 2.0f * DECELERATION2 * END_DISTANCE2 ) ) PlanVelo2[log_cmp] = END_VELOCITY2 + sqrtf( 2.0f * DECELERATION2 * END_DISTANCE2 ) ;
				}
				else{
					if( PlanVelo2[log_cmp + 1] < PlanVelo2[log_cmp] - sqrtf( 2.0f * DECELERATION2 * mm_buf ) ) PlanVelo2[log_cmp] = PlanVelo2[log_cmp + 1] + sqrtf( 2.0f * DECELERATION2 * mm_buf );
				}

				log_adress -= 0x08;
			}

			for(log_cmp = 0; log_cmp < log_array; log_cmp++) {
				FLASH_Write_Word_F(plan_velo_adress, PlanVelo[log_cmp]);
				plan_velo_adress += 0x04;
			}

			plan_velo_adress = start_adress_sector11;

			for(log_cmp = 0; log_cmp < log_array; log_cmp++) {
				FLASH_Write_Word_F(plan_velo_adress, PlanVelo2[log_cmp]);
				plan_velo_adress += 0x04;
			}

			main_pattern++;
			led_pattern(3);
			break;
		case 22:
			lcd_locate(0,0);
			lcd_print("_Finish_");
			lcd_locate(0,1);
			lcd_printf("%f",mileage((float)(enc_tim1_total + enc_tim8_total) / 2.0f));
			if(sw_up_state == 1) {
				main_pattern = 0;
				second_trace_flag = 1;
				setup_mode = 0;
				sw_up_state = 0;
			}
			break;
		default:
			break;
	  }
  }
  /* USER CODE END 3 */
}

void SystemClock_Config(void)
{
  RCC_OscInitTypeDef RCC_OscInitStruct = {0};
  RCC_ClkInitTypeDef RCC_ClkInitStruct = {0};

  /** Configure the main internal regulator output voltage
  */
  __HAL_RCC_PWR_CLK_ENABLE();
  __HAL_PWR_VOLTAGESCALING_CONFIG(PWR_REGULATOR_VOLTAGE_SCALE1);
  /** Initializes the CPU, AHB and APB busses clocks
  */
  RCC_OscInitStruct.OscillatorType = RCC_OSCILLATORTYPE_HSE;
  RCC_OscInitStruct.HSEState = RCC_HSE_BYPASS;
  RCC_OscInitStruct.PLL.PLLState = RCC_PLL_ON;
  RCC_OscInitStruct.PLL.PLLSource = RCC_PLLSOURCE_HSE;
  RCC_OscInitStruct.PLL.PLLM = 6;
  RCC_OscInitStruct.PLL.PLLN = 168;
  RCC_OscInitStruct.PLL.PLLP = RCC_PLLP_DIV2;
  RCC_OscInitStruct.PLL.PLLQ = 4;
  if (HAL_RCC_OscConfig(&RCC_OscInitStruct) != HAL_OK)
  {
    Error_Handler();
  }
  /** Initializes the CPU, AHB and APB busses clocks
  */
  RCC_ClkInitStruct.ClockType = RCC_CLOCKTYPE_HCLK|RCC_CLOCKTYPE_SYSCLK
                              |RCC_CLOCKTYPE_PCLK1|RCC_CLOCKTYPE_PCLK2;
  RCC_ClkInitStruct.SYSCLKSource = RCC_SYSCLKSOURCE_PLLCLK;
  RCC_ClkInitStruct.AHBCLKDivider = RCC_SYSCLK_DIV1;
  RCC_ClkInitStruct.APB1CLKDivider = RCC_HCLK_DIV4;
  RCC_ClkInitStruct.APB2CLKDivider = RCC_HCLK_DIV2;

  if (HAL_RCC_ClockConfig(&RCC_ClkInitStruct, FLASH_LATENCY_5) != HAL_OK)
  {
    Error_Handler();
  }
}

static void MX_ADC1_Init(void)
{

  ADC_ChannelConfTypeDef sConfig = {0};

  /** Configure the global features of the ADC (Clock, Resolution, Data Alignment and number of conversion)
  */
  hadc1.Instance = ADC1;
  hadc1.Init.ClockPrescaler = ADC_CLOCK_SYNC_PCLK_DIV4;
  hadc1.Init.Resolution = ADC_RESOLUTION_12B;
  hadc1.Init.ScanConvMode = ENABLE;
  hadc1.Init.ContinuousConvMode = ENABLE;
  hadc1.Init.DiscontinuousConvMode = DISABLE;
  hadc1.Init.ExternalTrigConvEdge = ADC_EXTERNALTRIGCONVEDGE_NONE;
  hadc1.Init.ExternalTrigConv = ADC_SOFTWARE_START;
  hadc1.Init.DataAlign = ADC_DATAALIGN_RIGHT;
  hadc1.Init.NbrOfConversion = 14;
  hadc1.Init.DMAContinuousRequests = ENABLE;
  hadc1.Init.EOCSelection = ADC_EOC_SINGLE_CONV;
  if (HAL_ADC_Init(&hadc1) != HAL_OK)
  {
    Error_Handler();
  }
  /** Configure for the selected ADC regular channel its corresponding rank in the sequencer and its sample time.
  */
  sConfig.Channel = ADC_CHANNEL_0;
  sConfig.Rank = 1;
  sConfig.SamplingTime = ADC_SAMPLETIME_28CYCLES;
  if (HAL_ADC_ConfigChannel(&hadc1, &sConfig) != HAL_OK)
  {
    Error_Handler();
  }
  /** Configure for the selected ADC regular channel its corresponding rank in the sequencer and its sample time.
  */
  sConfig.Channel = ADC_CHANNEL_1;
  sConfig.Rank = 2;
  if (HAL_ADC_ConfigChannel(&hadc1, &sConfig) != HAL_OK)
  {
    Error_Handler();
  }
  /** Configure for the selected ADC regular channel its corresponding rank in the sequencer and its sample time.
  */
  sConfig.Channel = ADC_CHANNEL_2;
  sConfig.Rank = 3;
  if (HAL_ADC_ConfigChannel(&hadc1, &sConfig) != HAL_OK)
  {
    Error_Handler();
  }
  /** Configure for the selected ADC regular channel its corresponding rank in the sequencer and its sample time.
  */
  sConfig.Channel = ADC_CHANNEL_3;
  sConfig.Rank = 4;
  if (HAL_ADC_ConfigChannel(&hadc1, &sConfig) != HAL_OK)
  {
    Error_Handler();
  }
  /** Configure for the selected ADC regular channel its corresponding rank in the sequencer and its sample time.
  */
  sConfig.Channel = ADC_CHANNEL_4;
  sConfig.Rank = 5;
  if (HAL_ADC_ConfigChannel(&hadc1, &sConfig) != HAL_OK)
  {
    Error_Handler();
  }
  /** Configure for the selected ADC regular channel its corresponding rank in the sequencer and its sample time.
  */
  sConfig.Channel = ADC_CHANNEL_5;
  sConfig.Rank = 6;
  if (HAL_ADC_ConfigChannel(&hadc1, &sConfig) != HAL_OK)
  {
    Error_Handler();
  }
  /** Configure for the selected ADC regular channel its corresponding rank in the sequencer and its sample time.
  */
  sConfig.Channel = ADC_CHANNEL_6;
  sConfig.Rank = 7;
  if (HAL_ADC_ConfigChannel(&hadc1, &sConfig) != HAL_OK)
  {
    Error_Handler();
  }
  /** Configure for the selected ADC regular channel its corresponding rank in the sequencer and its sample time.
  */
  sConfig.Channel = ADC_CHANNEL_7;
  sConfig.Rank = 8;
  if (HAL_ADC_ConfigChannel(&hadc1, &sConfig) != HAL_OK)
  {
    Error_Handler();
  }
  /** Configure for the selected ADC regular channel its corresponding rank in the sequencer and its sample time.
  */
  sConfig.Channel = ADC_CHANNEL_8;
  sConfig.Rank = 9;
  if (HAL_ADC_ConfigChannel(&hadc1, &sConfig) != HAL_OK)
  {
    Error_Handler();
  }
  /** Configure for the selected ADC regular channel its corresponding rank in the sequencer and its sample time.
  */
  sConfig.Channel = ADC_CHANNEL_9;
  sConfig.Rank = 10;
  if (HAL_ADC_ConfigChannel(&hadc1, &sConfig) != HAL_OK)
  {
    Error_Handler();
  }
  /** Configure for the selected ADC regular channel its corresponding rank in the sequencer and its sample time.
  */
  sConfig.Channel = ADC_CHANNEL_14;
  sConfig.Rank = 11;
  if (HAL_ADC_ConfigChannel(&hadc1, &sConfig) != HAL_OK)
  {
    Error_Handler();
  }
  /** Configure for the selected ADC regular channel its corresponding rank in the sequencer and its sample time.
  */
  sConfig.Channel = ADC_CHANNEL_15;
  sConfig.Rank = 12;
  if (HAL_ADC_ConfigChannel(&hadc1, &sConfig) != HAL_OK)
  {
    Error_Handler();
  }
  /** Configure for the selected ADC regular channel its corresponding rank in the sequencer and its sample time.
  */
  sConfig.Channel = ADC_CHANNEL_12;
  sConfig.Rank = 13;
  if (HAL_ADC_ConfigChannel(&hadc1, &sConfig) != HAL_OK)
  {
    Error_Handler();
  }
  /** Configure for the selected ADC regular channel its corresponding rank in the sequencer and its sample time.
  */
  sConfig.Channel = ADC_CHANNEL_13;
  sConfig.Rank = 14;
  if (HAL_ADC_ConfigChannel(&hadc1, &sConfig) != HAL_OK)
  {
    Error_Handler();
  }

}

static void MX_I2C1_Init(void)
{

  hi2c1.Instance = I2C1;
  hi2c1.Init.ClockSpeed = 400000;
  hi2c1.Init.DutyCycle = I2C_DUTYCYCLE_2;
  hi2c1.Init.OwnAddress1 = 0;
  hi2c1.Init.AddressingMode = I2C_ADDRESSINGMODE_7BIT;
  hi2c1.Init.DualAddressMode = I2C_DUALADDRESS_DISABLE;
  hi2c1.Init.OwnAddress2 = 0;
  hi2c1.Init.GeneralCallMode = I2C_GENERALCALL_DISABLE;
  hi2c1.Init.NoStretchMode = I2C_NOSTRETCH_DISABLE;
  if (HAL_I2C_Init(&hi2c1) != HAL_OK)
  {
    Error_Handler();
  }

}

static void MX_I2C2_Init(void)
{

  hi2c2.Instance = I2C2;
  hi2c2.Init.ClockSpeed = 100000;
  hi2c2.Init.DutyCycle = I2C_DUTYCYCLE_2;
  hi2c2.Init.OwnAddress1 = 0;
  hi2c2.Init.AddressingMode = I2C_ADDRESSINGMODE_7BIT;
  hi2c2.Init.DualAddressMode = I2C_DUALADDRESS_DISABLE;
  hi2c2.Init.OwnAddress2 = 0;
  hi2c2.Init.GeneralCallMode = I2C_GENERALCALL_DISABLE;
  hi2c2.Init.NoStretchMode = I2C_NOSTRETCH_DISABLE;
  if (HAL_I2C_Init(&hi2c2) != HAL_OK)
  {
    Error_Handler();
  }

}

static void MX_SPI3_Init(void)
{

  /* SPI3 parameter configuration*/
  hspi3.Instance = SPI3;
  hspi3.Init.Mode = SPI_MODE_MASTER;
  hspi3.Init.Direction = SPI_DIRECTION_2LINES;
  hspi3.Init.DataSize = SPI_DATASIZE_8BIT;
  hspi3.Init.CLKPolarity = SPI_POLARITY_HIGH;
  hspi3.Init.CLKPhase = SPI_PHASE_2EDGE;
  hspi3.Init.NSS = SPI_NSS_SOFT;
  hspi3.Init.BaudRatePrescaler = SPI_BAUDRATEPRESCALER_32;
  hspi3.Init.FirstBit = SPI_FIRSTBIT_MSB;
  hspi3.Init.TIMode = SPI_TIMODE_DISABLE;
  hspi3.Init.CRCCalculation = SPI_CRCCALCULATION_DISABLE;
  hspi3.Init.CRCPolynomial = 10;
  if (HAL_SPI_Init(&hspi3) != HAL_OK)
  {
    Error_Handler();
  }

}

static void MX_TIM1_Init(void)
{

  TIM_Encoder_InitTypeDef sConfig = {0};
  TIM_MasterConfigTypeDef sMasterConfig = {0};

  htim1.Instance = TIM1;
  htim1.Init.Prescaler = 0;
  htim1.Init.CounterMode = TIM_COUNTERMODE_UP;
  htim1.Init.Period = 65535;
  htim1.Init.ClockDivision = TIM_CLOCKDIVISION_DIV1;
  htim1.Init.RepetitionCounter = 0;
  htim1.Init.AutoReloadPreload = TIM_AUTORELOAD_PRELOAD_DISABLE;
  sConfig.EncoderMode = TIM_ENCODERMODE_TI12;
  sConfig.IC1Polarity = TIM_ICPOLARITY_FALLING;
  sConfig.IC1Selection = TIM_ICSELECTION_DIRECTTI;
  sConfig.IC1Prescaler = TIM_ICPSC_DIV1;
  sConfig.IC1Filter = 0;
  sConfig.IC2Polarity = TIM_ICPOLARITY_FALLING;
  sConfig.IC2Selection = TIM_ICSELECTION_DIRECTTI;
  sConfig.IC2Prescaler = TIM_ICPSC_DIV1;
  sConfig.IC2Filter = 0;
  if (HAL_TIM_Encoder_Init(&htim1, &sConfig) != HAL_OK)
  {
    Error_Handler();
  }
  sMasterConfig.MasterOutputTrigger = TIM_TRGO_RESET;
  sMasterConfig.MasterSlaveMode = TIM_MASTERSLAVEMODE_DISABLE;
  if (HAL_TIMEx_MasterConfigSynchronization(&htim1, &sMasterConfig) != HAL_OK)
  {
    Error_Handler();
  }

}

static void MX_TIM2_Init(void)
{

  TIM_MasterConfigTypeDef sMasterConfig = {0};
  TIM_OC_InitTypeDef sConfigOC = {0};

  htim2.Instance = TIM2;
  htim2.Init.Prescaler = 1;
  htim2.Init.CounterMode = TIM_COUNTERMODE_UP;
  htim2.Init.Period = 4199;
  htim2.Init.ClockDivision = TIM_CLOCKDIVISION_DIV1;
  htim2.Init.AutoReloadPreload = TIM_AUTORELOAD_PRELOAD_DISABLE;
  if (HAL_TIM_PWM_Init(&htim2) != HAL_OK)
  {
    Error_Handler();
  }
  sMasterConfig.MasterOutputTrigger = TIM_TRGO_RESET;
  sMasterConfig.MasterSlaveMode = TIM_MASTERSLAVEMODE_DISABLE;
  if (HAL_TIMEx_MasterConfigSynchronization(&htim2, &sMasterConfig) != HAL_OK)
  {
    Error_Handler();
  }
  sConfigOC.OCMode = TIM_OCMODE_PWM1;
  sConfigOC.Pulse = 0;
  sConfigOC.OCPolarity = TIM_OCPOLARITY_HIGH;
  sConfigOC.OCFastMode = TIM_OCFAST_DISABLE;
  if (HAL_TIM_PWM_ConfigChannel(&htim2, &sConfigOC, TIM_CHANNEL_1) != HAL_OK)
  {
    Error_Handler();
  }
  HAL_TIM_MspPostInit(&htim2);

}

static void MX_TIM3_Init(void)
{

  TIM_MasterConfigTypeDef sMasterConfig = {0};
  TIM_OC_InitTypeDef sConfigOC = {0};

  htim3.Instance = TIM3;
  htim3.Init.Prescaler = 1;
  htim3.Init.CounterMode = TIM_COUNTERMODE_UP;
  htim3.Init.Period = 4199;
  htim3.Init.ClockDivision = TIM_CLOCKDIVISION_DIV1;
  htim3.Init.AutoReloadPreload = TIM_AUTORELOAD_PRELOAD_DISABLE;
  if (HAL_TIM_PWM_Init(&htim3) != HAL_OK)
  {
    Error_Handler();
  }
  sMasterConfig.MasterOutputTrigger = TIM_TRGO_RESET;
  sMasterConfig.MasterSlaveMode = TIM_MASTERSLAVEMODE_DISABLE;
  if (HAL_TIMEx_MasterConfigSynchronization(&htim3, &sMasterConfig) != HAL_OK)
  {
    Error_Handler();
  }
  sConfigOC.OCMode = TIM_OCMODE_PWM1;
  sConfigOC.Pulse = 0;
  sConfigOC.OCPolarity = TIM_OCPOLARITY_HIGH;
  sConfigOC.OCFastMode = TIM_OCFAST_DISABLE;
  if (HAL_TIM_PWM_ConfigChannel(&htim3, &sConfigOC, TIM_CHANNEL_1) != HAL_OK)
  {
    Error_Handler();
  }
  if (HAL_TIM_PWM_ConfigChannel(&htim3, &sConfigOC, TIM_CHANNEL_2) != HAL_OK)
  {
    Error_Handler();
  }
  if (HAL_TIM_PWM_ConfigChannel(&htim3, &sConfigOC, TIM_CHANNEL_3) != HAL_OK)
  {
    Error_Handler();
  }
  if (HAL_TIM_PWM_ConfigChannel(&htim3, &sConfigOC, TIM_CHANNEL_4) != HAL_OK)
  {
    Error_Handler();
  }
  HAL_TIM_MspPostInit(&htim3);

}

static void MX_TIM6_Init(void)
{

  TIM_MasterConfigTypeDef sMasterConfig = {0};

  htim6.Instance = TIM6;
  htim6.Init.Prescaler = 19;
  htim6.Init.CounterMode = TIM_COUNTERMODE_UP;
  htim6.Init.Period = 4199;
  htim6.Init.AutoReloadPreload = TIM_AUTORELOAD_PRELOAD_DISABLE;
  if (HAL_TIM_Base_Init(&htim6) != HAL_OK)
  {
    Error_Handler();
  }
  sMasterConfig.MasterOutputTrigger = TIM_TRGO_RESET;
  sMasterConfig.MasterSlaveMode = TIM_MASTERSLAVEMODE_DISABLE;
  if (HAL_TIMEx_MasterConfigSynchronization(&htim6, &sMasterConfig) != HAL_OK)
  {
    Error_Handler();
  }

}

static void MX_TIM7_Init(void)
{

  TIM_MasterConfigTypeDef sMasterConfig = {0};

  htim7.Instance = TIM7;
  htim7.Init.Prescaler = 167;
  htim7.Init.CounterMode = TIM_COUNTERMODE_UP;
  htim7.Init.Period = 4999;
  htim7.Init.AutoReloadPreload = TIM_AUTORELOAD_PRELOAD_DISABLE;
  if (HAL_TIM_Base_Init(&htim7) != HAL_OK)
  {
    Error_Handler();
  }
  sMasterConfig.MasterOutputTrigger = TIM_TRGO_RESET;
  sMasterConfig.MasterSlaveMode = TIM_MASTERSLAVEMODE_DISABLE;
  if (HAL_TIMEx_MasterConfigSynchronization(&htim7, &sMasterConfig) != HAL_OK)
  {
    Error_Handler();
  }

}

static void MX_TIM8_Init(void)
{

  TIM_Encoder_InitTypeDef sConfig = {0};
  TIM_MasterConfigTypeDef sMasterConfig = {0};

  htim8.Instance = TIM8;
  htim8.Init.Prescaler = 0;
  htim8.Init.CounterMode = TIM_COUNTERMODE_UP;
  htim8.Init.Period = 65535;
  htim8.Init.ClockDivision = TIM_CLOCKDIVISION_DIV1;
  htim8.Init.RepetitionCounter = 0;
  htim8.Init.AutoReloadPreload = TIM_AUTORELOAD_PRELOAD_DISABLE;
  sConfig.EncoderMode = TIM_ENCODERMODE_TI12;
  sConfig.IC1Polarity = TIM_ICPOLARITY_FALLING;
  sConfig.IC1Selection = TIM_ICSELECTION_DIRECTTI;
  sConfig.IC1Prescaler = TIM_ICPSC_DIV1;
  sConfig.IC1Filter = 0;
  sConfig.IC2Polarity = TIM_ICPOLARITY_FALLING;
  sConfig.IC2Selection = TIM_ICSELECTION_DIRECTTI;
  sConfig.IC2Prescaler = TIM_ICPSC_DIV1;
  sConfig.IC2Filter = 0;
  if (HAL_TIM_Encoder_Init(&htim8, &sConfig) != HAL_OK)
  {
    Error_Handler();
  }
  sMasterConfig.MasterOutputTrigger = TIM_TRGO_RESET;
  sMasterConfig.MasterSlaveMode = TIM_MASTERSLAVEMODE_DISABLE;
  if (HAL_TIMEx_MasterConfigSynchronization(&htim8, &sMasterConfig) != HAL_OK)
  {
    Error_Handler();
  }

}

static void MX_TIM12_Init(void)
{

  TIM_OC_InitTypeDef sConfigOC = {0};

  htim12.Instance = TIM12;
  htim12.Init.Prescaler = 1;
  htim12.Init.CounterMode = TIM_COUNTERMODE_UP;
  htim12.Init.Period = 839;
  htim12.Init.ClockDivision = TIM_CLOCKDIVISION_DIV1;
  htim12.Init.AutoReloadPreload = TIM_AUTORELOAD_PRELOAD_DISABLE;
  if (HAL_TIM_PWM_Init(&htim12) != HAL_OK)
  {
    Error_Handler();
  }
  sConfigOC.OCMode = TIM_OCMODE_PWM1;
  sConfigOC.Pulse = 0;
  sConfigOC.OCPolarity = TIM_OCPOLARITY_HIGH;
  sConfigOC.OCFastMode = TIM_OCFAST_DISABLE;
  if (HAL_TIM_PWM_ConfigChannel(&htim12, &sConfigOC, TIM_CHANNEL_1) != HAL_OK)
  {
    Error_Handler();
  }
  if (HAL_TIM_PWM_ConfigChannel(&htim12, &sConfigOC, TIM_CHANNEL_2) != HAL_OK)
  {
    Error_Handler();
  }
  HAL_TIM_MspPostInit(&htim12);

}

static void MX_USART1_UART_Init(void)
{

  huart1.Instance = USART1;
  huart1.Init.BaudRate = 9600;
  huart1.Init.WordLength = UART_WORDLENGTH_8B;
  huart1.Init.StopBits = UART_STOPBITS_1;
  huart1.Init.Parity = UART_PARITY_NONE;
  huart1.Init.Mode = UART_MODE_TX_RX;
  huart1.Init.HwFlowCtl = UART_HWCONTROL_NONE;
  huart1.Init.OverSampling = UART_OVERSAMPLING_16;
  if (HAL_UART_Init(&huart1) != HAL_OK)
  {
    Error_Handler();
  }

}

static void MX_DMA_Init(void)
{

  /* DMA controller clock enable */
  __HAL_RCC_DMA2_CLK_ENABLE();

  /* DMA interrupt init */
  /* DMA2_Stream0_IRQn interrupt configuration */
  HAL_NVIC_SetPriority(DMA2_Stream0_IRQn, 5, 0);
  HAL_NVIC_EnableIRQ(DMA2_Stream0_IRQn);

}

static void MX_GPIO_Init(void)
{
  GPIO_InitTypeDef GPIO_InitStruct = {0};

  /* GPIO Ports Clock Enable */
  __HAL_RCC_GPIOC_CLK_ENABLE();
  __HAL_RCC_GPIOH_CLK_ENABLE();
  __HAL_RCC_GPIOA_CLK_ENABLE();
  __HAL_RCC_GPIOB_CLK_ENABLE();
  __HAL_RCC_GPIOD_CLK_ENABLE();

  /*Configure GPIO pin Output Level */
  HAL_GPIO_WritePin(GPIOB, GPIO_PIN_2|GPIO_PIN_13, GPIO_PIN_RESET);

  /*Configure GPIO pin Output Level */
  HAL_GPIO_WritePin(GPIOA, GPIO_PIN_10|GPIO_PIN_11|GPIO_PIN_12, GPIO_PIN_RESET);

  /*Configure GPIO pin Output Level */
  HAL_GPIO_WritePin(GPIOD, GPIO_PIN_2, GPIO_PIN_RESET);

  /*Configure GPIO pins : PC13 PC14 PC15 PC0
                           PC1 */
  GPIO_InitStruct.Pin = GPIO_PIN_13|GPIO_PIN_14|GPIO_PIN_15|GPIO_PIN_0
                          |GPIO_PIN_1;
  GPIO_InitStruct.Mode = GPIO_MODE_IT_RISING;
  GPIO_InitStruct.Pull = GPIO_PULLUP;
  HAL_GPIO_Init(GPIOC, &GPIO_InitStruct);

  /*Configure GPIO pins : PB2 PB13 */
  GPIO_InitStruct.Pin = GPIO_PIN_2|GPIO_PIN_13;
  GPIO_InitStruct.Mode = GPIO_MODE_OUTPUT_PP;
  GPIO_InitStruct.Pull = GPIO_NOPULL;
  GPIO_InitStruct.Speed = GPIO_SPEED_FREQ_LOW;
  HAL_GPIO_Init(GPIOB, &GPIO_InitStruct);

  /*Configure GPIO pin : PB12 */
  GPIO_InitStruct.Pin = GPIO_PIN_12;
  GPIO_InitStruct.Mode = GPIO_MODE_IT_RISING;
  GPIO_InitStruct.Pull = GPIO_PULLUP;
  HAL_GPIO_Init(GPIOB, &GPIO_InitStruct);

  /*Configure GPIO pins : PA10 PA11 */
  GPIO_InitStruct.Pin = GPIO_PIN_10|GPIO_PIN_11;
  GPIO_InitStruct.Mode = GPIO_MODE_OUTPUT_PP;
  GPIO_InitStruct.Pull = GPIO_NOPULL;
  GPIO_InitStruct.Speed = GPIO_SPEED_FREQ_HIGH;
  HAL_GPIO_Init(GPIOA, &GPIO_InitStruct);

  /*Configure GPIO pin : PA12 */
  GPIO_InitStruct.Pin = GPIO_PIN_12;
  GPIO_InitStruct.Mode = GPIO_MODE_OUTPUT_PP;
  GPIO_InitStruct.Pull = GPIO_NOPULL;
  GPIO_InitStruct.Speed = GPIO_SPEED_FREQ_LOW;
  HAL_GPIO_Init(GPIOA, &GPIO_InitStruct);

  /*Configure GPIO pin : PD2 */
  GPIO_InitStruct.Pin = GPIO_PIN_2;
  GPIO_InitStruct.Mode = GPIO_MODE_OUTPUT_PP;
  GPIO_InitStruct.Pull = GPIO_NOPULL;
  GPIO_InitStruct.Speed = GPIO_SPEED_FREQ_VERY_HIGH;
  HAL_GPIO_Init(GPIOD, &GPIO_InitStruct);

  /* EXTI interrupt init*/
  HAL_NVIC_SetPriority(EXTI0_IRQn, 0, 0);
  HAL_NVIC_EnableIRQ(EXTI0_IRQn);

  HAL_NVIC_SetPriority(EXTI1_IRQn, 0, 0);
  HAL_NVIC_EnableIRQ(EXTI1_IRQn);

  HAL_NVIC_SetPriority(EXTI15_10_IRQn, 0, 0);
  HAL_NVIC_EnableIRQ(EXTI15_10_IRQn);

}

void Error_Handler(void)
{
}

/************************ (C) COPYRIGHT STMicroelectronics *****END OF FILE****/
